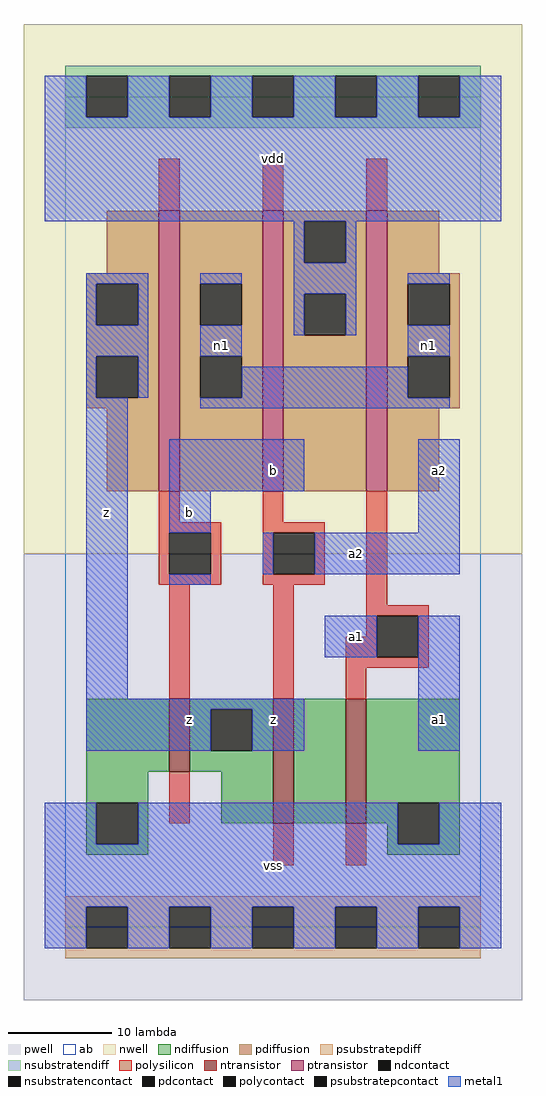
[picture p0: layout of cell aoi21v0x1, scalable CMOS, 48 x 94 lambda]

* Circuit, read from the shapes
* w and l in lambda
.subckt aoi21v0x1 a1 a2 b n1 vdd vss z
M1 z b vss vss nfet w=7 l=2
M2 n2 a2 z vss nfet w=12 l=2
M3 vss a1 n2 vss nfet w=12 l=2
M4 n1 b z vdd pfet w=27 l=2
M5 vdd a2 n1 vdd pfet w=27 l=2
M6 n1 a1 vdd vdd pfet w=27 l=2
.ends

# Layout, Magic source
magic
tech scmos
<< ab >>
rect 0 0 40 80
<< pwell >>
rect -4 -7 44 36
<< nwell >>
rect -4 36 44 87
<< polysilicon >>
rect 9 69 11 74
rect 19 69 21 74
rect 29 69 31 74
rect 9 39 11 42
rect 19 39 21 42
rect 9 38 15 39
rect 9 34 10 38
rect 14 34 15 38
rect 9 33 15 34
rect 19 38 25 39
rect 19 34 20 38
rect 24 34 25 38
rect 19 33 25 34
rect 10 22 12 33
rect 20 22 22 33
rect 29 31 31 42
rect 29 30 35 31
rect 29 28 30 30
rect 27 26 30 28
rect 34 26 35 30
rect 27 25 35 26
rect 27 22 29 25
rect 10 10 12 15
rect 20 6 22 10
rect 27 6 29 10
<< ndiffusion >>
rect 2 15 10 22
rect 12 21 20 22
rect 12 17 14 21
rect 18 17 20 21
rect 12 15 20 17
rect 2 12 8 15
rect 2 8 3 12
rect 7 8 8 12
rect 15 10 20 15
rect 22 10 27 22
rect 29 12 38 22
rect 29 10 32 12
rect 2 7 8 8
rect 31 8 32 10
rect 36 8 38 12
rect 31 7 38 8
<< pdiffusion >>
rect 4 63 9 69
rect 2 62 9 63
rect 2 58 3 62
rect 7 58 9 62
rect 2 55 9 58
rect 2 51 3 55
rect 7 51 9 55
rect 2 50 9 51
rect 4 42 9 50
rect 11 62 19 69
rect 11 58 13 62
rect 17 58 19 62
rect 11 55 19 58
rect 11 51 13 55
rect 17 51 19 55
rect 11 42 19 51
rect 21 68 29 69
rect 21 64 23 68
rect 27 64 29 68
rect 21 61 29 64
rect 21 57 23 61
rect 27 57 29 61
rect 21 42 29 57
rect 31 63 36 69
rect 31 62 38 63
rect 31 58 33 62
rect 37 58 38 62
rect 31 55 38 58
rect 31 51 33 55
rect 37 51 38 55
rect 31 50 38 51
rect 31 42 36 50
<< metal1 >>
rect -2 78 2 82
rect 6 78 10 82
rect 14 78 18 82
rect 22 78 26 82
rect 30 78 34 82
rect 38 78 42 82
rect -2 68 42 78
rect 22 64 23 68
rect 27 64 28 68
rect 2 62 8 63
rect 2 58 3 62
rect 7 58 8 62
rect 2 55 8 58
rect 2 51 3 55
rect 7 51 8 55
rect 13 62 17 63
rect 13 55 17 58
rect 22 61 28 64
rect 22 57 23 61
rect 27 57 28 61
rect 33 62 37 63
rect 33 55 37 58
rect 17 51 33 54
rect 2 22 6 51
rect 13 50 37 51
rect 10 42 23 47
rect 10 38 14 42
rect 34 38 38 47
rect 19 34 20 38
rect 24 34 38 38
rect 10 33 14 34
rect 25 26 30 30
rect 2 21 23 22
rect 2 17 14 21
rect 18 17 23 21
rect 34 17 38 30
rect -2 8 3 12
rect 7 8 32 12
rect 36 8 42 12
rect -2 2 42 8
rect -2 -2 2 2
rect 6 -2 10 2
rect 14 -2 18 2
rect 22 -2 26 2
rect 30 -2 34 2
rect 38 -2 42 2
<< ntransistor >>
rect 10 15 12 22
rect 20 10 22 22
rect 27 10 29 22
<< ptransistor >>
rect 9 42 11 69
rect 19 42 21 69
rect 29 42 31 69
<< polycontact >>
rect 10 34 14 38
rect 20 34 24 38
rect 30 26 34 30
<< ndcontact >>
rect 14 17 18 21
rect 3 8 7 12
rect 32 8 36 12
<< pdcontact >>
rect 3 58 7 62
rect 3 51 7 55
rect 13 58 17 62
rect 13 51 17 55
rect 23 64 27 68
rect 23 57 27 61
rect 33 58 37 62
rect 33 51 37 55
<< psubstratepcontact >>
rect 2 -2 6 2
rect 10 -2 14 2
rect 18 -2 22 2
rect 26 -2 30 2
rect 34 -2 38 2
<< nsubstratencontact >>
rect 2 78 6 82
rect 10 78 14 82
rect 18 78 22 82
rect 26 78 30 82
rect 34 78 38 82
<< psubstratepdiff >>
rect 0 2 40 3
rect 0 -2 2 2
rect 6 -2 10 2
rect 14 -2 18 2
rect 22 -2 26 2
rect 30 -2 34 2
rect 38 -2 40 2
rect 0 -3 40 -2
<< nsubstratendiff >>
rect 0 82 40 83
rect 0 78 2 82
rect 6 78 10 82
rect 14 78 18 82
rect 22 78 26 82
rect 30 78 34 82
rect 38 78 40 82
rect 0 77 40 78
<< labels >>
rlabel metal1 4 40 4 40 6 z
rlabel metal1 12 20 12 20 6 z
rlabel metal1 12 40 12 40 6 b
rlabel metal1 15 56 15 56 6 n1
rlabel metal1 20 6 20 6 6 vss
rlabel metal1 20 20 20 20 6 z
rlabel metal1 28 36 28 36 6 a2
rlabel metal1 28 28 28 28 6 a1
rlabel metal1 20 44 20 44 6 b
rlabel metal1 20 74 20 74 6 vdd
rlabel metal1 36 20 36 20 6 a1
rlabel metal1 36 44 36 44 6 a2
rlabel metal1 35 56 35 56 6 n1
<< end >>
